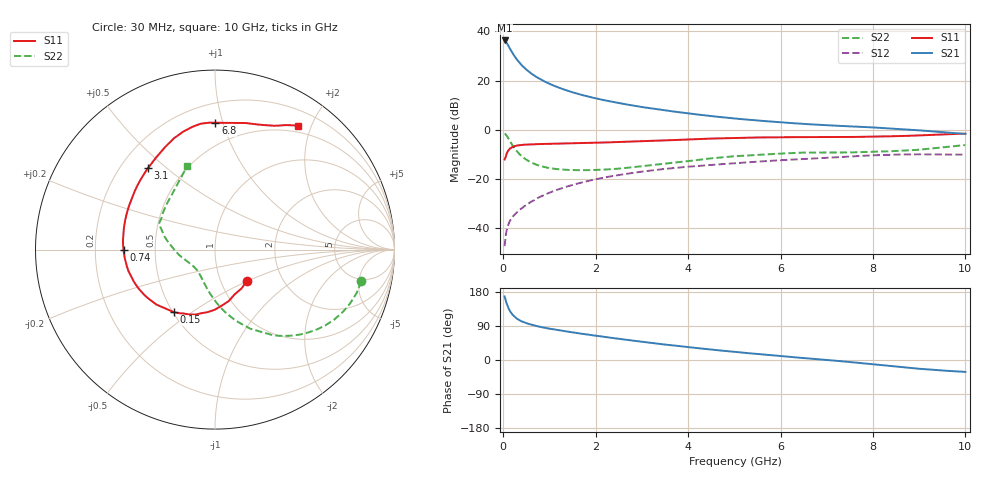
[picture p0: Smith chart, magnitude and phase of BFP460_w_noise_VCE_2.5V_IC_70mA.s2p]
! (c) 2016  Infineon Technologies AG, Munich
! Infineon Technologies  Discrete & RF Semiconductors
! BFP460
! VCE =  2.5 V,  IC =  70 mA
! Common Emitter S-Parameters:  Jan 2016
# GHz  S  MA  R  50
!  f  S11  S21  S12  S22
! GHz  MAG  ANG  MAG  ANG  MAG  ANG  MAG  ANG
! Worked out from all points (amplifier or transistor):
!   229 points, 30 MHz to 10 GHz, reference 50 ohm
!   highest |S21| = 36.3 dB at 30 MHz (marker M1)
!   |S21| within 3 dB of that: start of sweep to 136.4 MHz
!   unconditionally stable (mu >= 1): 798.3 MHz to 7.505 GHz
!   at 280 MHz: K = 0.73, MSG = 31.4 dB, |S12| = -33.9 dB
!   at 1.78 GHz: K = 1.06, MAG = 16.0 dB, |S12| = -21.1 dB
!   at 10 GHz: K = 0.96, MSG = 4.2 dB, |S12| = -10.1 dB
!   lowest NFmin = 2.03 dB at 3.5 GHz
!   S11 on the Smith chart (normalised r, x): 30 MHz: 1.33, -0.49; 150 MHz: 0.51, -0.43; 740 MHz: 0.32, -0.00; 3.1 GHz: 0.31, +0.44; 6.8 GHz: 0.34, +0.95; 10 GHz: 0.40, +1.81
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0.03  0.2491 -44.0  65.24 167.6  0.0043 84.3  0.8345 -12.2
0.05  0.2723 -66.3  62.44 158.3  0.0065 76.7  0.8101 -21.8
0.07  0.3173 -84.2  59.26 150.5  0.0087 72.2  0.7696 -30.5
0.08  0.3354 -90.3  57.35 147.2  0.0095 70.9  0.7457 -34.5
0.09  0.3515 -97.0  55.24 143.7  0.0103 69.5  0.7206 -38.2
0.11  0.3783 -106.8  51.23 137.8  0.0119 66.4  0.6701 -44.9
0.15  0.4174 -123.5  43.69 128.1  0.0143 62.6  0.5763 -55.9
0.2  0.4479 -136.9  36.28 119.6  0.0168 60.9  0.4826 -66.0
0.24  0.4618 -144.3  31.74 114.7  0.0186 60.8  0.4259 -72.0
0.3  0.4777 -152.8  26.39 108.6  0.0212 61.1  0.3602 -79.9
0.34  0.484 -157.1  23.73 105.7  0.0229 61.8  0.3281 -83.9
0.4  0.4902 -162.4  20.48 101.8  0.0254 62.7  0.2898 -89.3
0.5  0.4995 -169.0  16.67 97.1  0.0298 64.1  0.246 -96.5
0.74  0.5096 -179.7  11.51 89.2  0.0405 66.1  0.1917 -109.2
1.1  0.5195 169.1  7.811 80.6  0.0571 66.3  0.161 -122.5
1.7  0.5345 155.1  5.1 69.3  0.0848 63.3  0.1506 -136.7
3.1  0.5878 129.3  2.806 46.8  0.1446 51.4  0.1855 -165.5
3.4  0.6018 124.6  2.552 42.4  0.1561 48.5  0.1991 -170.6
5.1  0.6839 104.0  1.66 20.3  0.2114 34.8  0.2924 164.9
6.8  0.7066 89.8  1.264 2.2  0.2633 21.8  0.3439 154.2
8.4  0.7364 71.2  1.057 -16.1  0.311 7.2  0.3664 138.4
10  0.8324 56.1  0.821 -31.4  0.3114 -5.6  0.4892 108.5
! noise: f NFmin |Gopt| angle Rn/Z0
0.45  2.18  0.41  -169  0.13
0.9  2.25  0.38  -159  0.14
1.9  2.41  0.49  -138  0.2
3.5  2.03  0.78  -114  0.43
